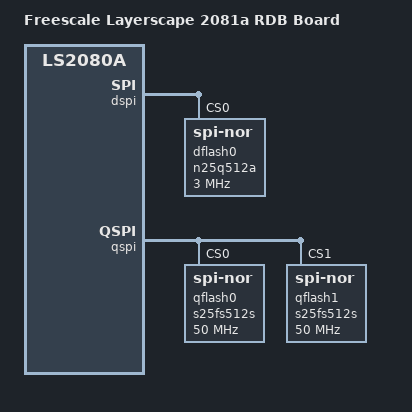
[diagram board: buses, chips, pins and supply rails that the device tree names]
// SPDX-License-Identifier: GPL-2.0+ OR X11
/*
 * NXP LS2081A RDB board device tree source for QSPI-boot
 *
 * Author: Priyanka Jain <priyanka.jain@nxp.com>
 *
 * Copyright 2017 NXP
 */

/dts-v1/;

#include "fsl-ls2080a.dtsi"

/ {
	model = "Freescale Layerscape 2081a RDB Board";
	compatible = "fsl,ls2081a-rdb", "fsl,ls2080a";

	aliases {
		spi0 = &qspi;
		spi1 = &dspi;
	};
};

&dspi {
	bus-num = <0>;
	status = "okay";

	dflash0: n25q512a {
		#address-cells = <1>;
		#size-cells = <1>;
		compatible = "jedec,spi-nor";
		spi-max-frequency = <3000000>;
		spi-cpol;
		spi-cpha;
		reg = <0>;
	};
};

&qspi {
	bus-num = <0>;
	status = "okay";

	qflash0: s25fs512s@0 {
		#address-cells = <1>;
		#size-cells = <1>;
		compatible = "jedec,spi-nor";
		spi-max-frequency = <50000000>;
		reg = <0>;
	};

	qflash1: s25fs512s@1 {
		#address-cells = <1>;
		#size-cells = <1>;
		compatible = "jedec,spi-nor";
		spi-max-frequency = <50000000>;
		reg = <1>;
	};
};
